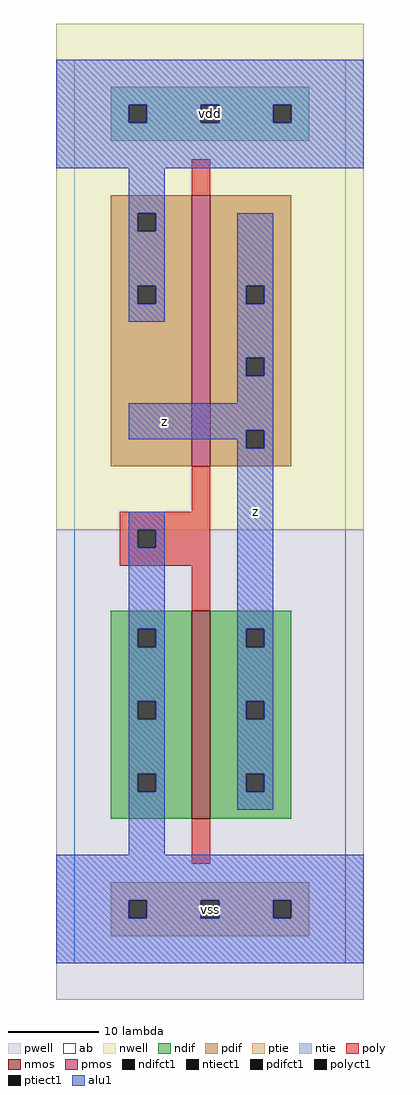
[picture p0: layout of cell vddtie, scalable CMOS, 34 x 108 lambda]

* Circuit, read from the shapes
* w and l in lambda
.subckt vddtie vdd vss z
M1 z vss vss vss nfet w=23 l=2
M2 z vss vdd vdd pfet w=30 l=2
.ends

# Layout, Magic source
magic
tech scmos
<< ab >>
rect 0 0 30 100
<< nwell >>
rect -2 48 32 104
<< pwell >>
rect -2 -4 32 48
<< poly >>
rect 13 85 15 89
rect 13 50 15 55
rect 5 48 15 50
rect 5 46 7 48
rect 9 46 15 48
rect 5 44 15 46
rect 13 39 15 44
rect 13 11 15 16
<< ndif >>
rect 4 37 13 39
rect 4 35 7 37
rect 9 35 13 37
rect 4 29 13 35
rect 4 27 7 29
rect 9 27 13 29
rect 4 21 13 27
rect 4 19 7 21
rect 9 19 13 21
rect 4 16 13 19
rect 15 37 24 39
rect 15 35 19 37
rect 21 35 24 37
rect 15 29 24 35
rect 15 27 19 29
rect 21 27 24 29
rect 15 21 24 27
rect 15 19 19 21
rect 21 19 24 21
rect 15 16 24 19
<< pdif >>
rect 4 83 13 85
rect 4 81 7 83
rect 9 81 13 83
rect 4 75 13 81
rect 4 73 7 75
rect 9 73 13 75
rect 4 55 13 73
rect 15 75 24 85
rect 15 73 19 75
rect 21 73 24 75
rect 15 67 24 73
rect 15 65 19 67
rect 21 65 24 67
rect 15 59 24 65
rect 15 57 19 59
rect 21 57 24 59
rect 15 55 24 57
<< alu1 >>
rect -2 95 32 100
rect -2 93 6 95
rect 8 93 14 95
rect 16 93 22 95
rect 24 93 32 95
rect -2 88 32 93
rect 6 83 10 88
rect 6 81 7 83
rect 9 81 10 83
rect 6 75 10 81
rect 6 73 7 75
rect 9 73 10 75
rect 6 71 10 73
rect 18 75 22 83
rect 18 73 19 75
rect 21 73 22 75
rect 18 67 22 73
rect 18 65 19 67
rect 21 65 22 67
rect 18 62 22 65
rect 6 59 22 62
rect 6 58 19 59
rect 18 57 19 58
rect 21 57 22 59
rect 6 48 10 50
rect 6 46 7 48
rect 9 46 10 48
rect 6 37 10 46
rect 6 35 7 37
rect 9 35 10 37
rect 6 29 10 35
rect 6 27 7 29
rect 9 27 10 29
rect 6 21 10 27
rect 6 19 7 21
rect 9 19 10 21
rect 6 12 10 19
rect 18 37 22 57
rect 18 35 19 37
rect 21 35 22 37
rect 18 29 22 35
rect 18 27 19 29
rect 21 27 22 29
rect 18 21 22 27
rect 18 19 19 21
rect 21 19 22 21
rect 18 17 22 19
rect -2 7 32 12
rect -2 5 6 7
rect 8 5 14 7
rect 16 5 22 7
rect 24 5 32 7
rect -2 0 32 5
<< ptie >>
rect 4 7 26 9
rect 4 5 6 7
rect 8 5 14 7
rect 16 5 22 7
rect 24 5 26 7
rect 4 3 26 5
<< ntie >>
rect 4 95 26 97
rect 4 93 6 95
rect 8 93 14 95
rect 16 93 22 95
rect 24 93 26 95
rect 4 91 26 93
<< nmos >>
rect 13 16 15 39
<< pmos >>
rect 13 55 15 85
<< polyct1 >>
rect 7 46 9 48
<< ndifct1 >>
rect 7 35 9 37
rect 7 27 9 29
rect 7 19 9 21
rect 19 35 21 37
rect 19 27 21 29
rect 19 19 21 21
<< ntiect1 >>
rect 6 93 8 95
rect 14 93 16 95
rect 22 93 24 95
<< ptiect1 >>
rect 6 5 8 7
rect 14 5 16 7
rect 22 5 24 7
<< pdifct1 >>
rect 7 81 9 83
rect 7 73 9 75
rect 19 73 21 75
rect 19 65 21 67
rect 19 57 21 59
<< labels >>
rlabel alu1 10 60 10 60 6 z
rlabel ptiect1 15 6 15 6 6 vss
rlabel alu1 20 50 20 50 6 z
rlabel ntiect1 15 94 15 94 6 vdd
<< end >>
